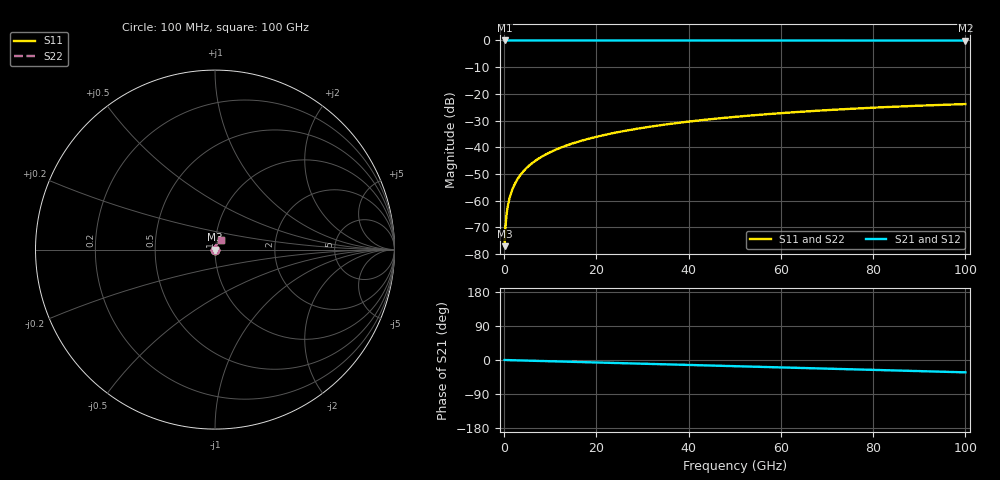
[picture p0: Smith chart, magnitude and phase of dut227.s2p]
! Touchstone file exported from HFSS 2026.1.0
!  File:  C:/ffzhzh/LocalFiles/Ansys_Project_Files/temp_train_TSV_227_1783507926_31944.aedt
!  Generated:  06:53:25 PM Jul  8, 2026
!  Design:  TSV
!  Project:  temp_train_TSV_227_1783507926_31944
! Variables:
!  h_bsmrdl = 2um
!  h_ox = 20um
!  h_rdl = 5um
!  h_sub = 59.85um
!  h_tmrdl = 5um
!  h_tsv = 59.85um
!  h_via = 3um
!  l_bsmrdl = 300um
!  l_sub = 422.34um
!  l_tmrdl = 200um
!  m_sub = 200um
!  pitch = 51.69um
!  r_tsv = 11.17um
!  s_tmrdl = 10um
!  w_bsmrdl = 18um
!  w_sub = 500um
!  w_tmrdl = 12um
!  x_tsv_center1 = 206um
!  x_tsv_center2 = 524um
!  x_tsv_center3 = 736um
!  x_tsv_center4 = 1054um
!  x_tsv_center5 = 1266um
!  x_tsv_center6 = 1584um
# GHz S MA R 50.000000
! Terminal data exported
! Port[1] = TSV1_1_T1
! Port[2] = TSV1_1_T2
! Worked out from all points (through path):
!   1000 points, 100 MHz to 100 GHz, reference 50 ohm
!   highest |S21| = 0.00 dB at 100 MHz (marker M1); lowest = 0.0 dB at 100 GHz (marker M2)
!   group delay of S21, straight-line fit = 904 fs
!   lowest |S11| = -77.1 dB at 100 MHz (marker M3), VSWR 1.00, Z = 50 + j0.011 ohm
!   |S11| at or under -10 dB: start of sweep to end of sweep
!   |S22| runs from -77.1 to -23.8 dB; largest |S21 - S12| = 2.7e-15
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0.1  0.0001403 51.9  0.9999 -0.0  0.9999 -0.0  0.0001403 51.9
! Gamma 0 0 0 0
! Port Impedance 50 0 50 0
0.3  0.0003393 70.8  0.9999 -0.1  0.9999 -0.1  0.0003393 70.8
0.7  0.0007103 75.7  0.9998 -0.2  0.9998 -0.2  0.0007103 75.7
0.8  0.0007969 76.3  0.9998 -0.3  0.9998 -0.3  0.0007969 76.3
1  0.0009672 77.3  0.9998 -0.3  0.9998 -0.3  0.0009672 77.3
1.3  0.001219 78.5  0.9998 -0.4  0.9998 -0.4  0.001219 78.5
1.8  0.001634 79.8  0.9997 -0.6  0.9997 -0.6  0.001634 79.8
2.3  0.002044 80.6  0.9997 -0.8  0.9997 -0.8  0.002044 80.6
3  0.002611 81.2  0.9996 -1.0  0.9996 -1.0  0.002611 81.2
3.8  0.00325 81.7  0.9996 -1.3  0.9996 -1.3  0.00325 81.7
4.8  0.00404 82.0  0.9995 -1.6  0.9995 -1.6  0.00404 82.0
6  0.004982 82.3  0.9995 -2.0  0.9995 -2.0  0.004982 82.3
8.8  0.00716 82.2  0.9994 -2.9  0.9994 -2.9  0.00716 82.2
12.4  0.009929 81.7  0.9992 -4.1  0.9992 -4.1  0.009929 81.7
16.8  0.01327 80.8  0.9991 -5.5  0.9991 -5.5  0.01327 80.8
24.2  0.01881 79.0  0.9988 -7.9  0.9988 -7.9  0.01881 79.0
33.4  0.02553 76.5  0.9985 -10.9  0.9985 -10.9  0.02553 76.4
41.2  0.03105 74.2  0.9982 -13.4  0.9982 -13.4  0.03105 74.2
50.1  0.03711 71.5  0.9978 -16.3  0.9978 -16.3  0.03711 71.5
66.7  0.04761 66.4  0.9971 -21.7  0.9971 -21.7  0.04761 66.3
83.4  0.05684 61.1  0.9964 -27.1  0.9964 -27.1  0.05684 61.1
100  0.06431 55.9  0.9957 -32.6  0.9957 -32.6  0.06431 55.8
